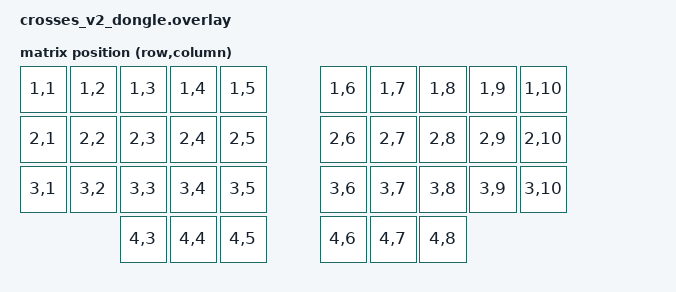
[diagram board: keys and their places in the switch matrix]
#include <dt-bindings/zmk/matrix_transform.h>
#include <input/processors.dtsi>
#include <input/processors/report_rate_limit.dtsi>
#include <dt-bindings/zmk/input_transform.h>
#include <zephyr/dt-bindings/input/input-event-codes.h>
#include "../../gggw/crosses_v2/layout_36.dtsi"

/ {
    chosen {
        zmk,kscan = &mock_kscan;
        zmk,matrix-transform = &thirty_six_transform;
        
        // Trackball config link
        gggw,trackball-config-uart = &tbcfg_acm;
    };

    mock_kscan: mock_kscan_0 {
        compatible = "zmk,kscan-mock";
        columns = <0>;
        rows = <0>;
        events = <0>;
    };

    thirty_six_transform: keymap_transform2 {
      compatible = "zmk,matrix-transform";
      columns = <12>;
      rows = <5>;
      map = <
        RC(1,1) RC(1,2) RC(1,3) RC(1,4) RC(1,5)           RC(1,6) RC(1,7) RC(1,8) RC(1,9) RC(1,10)
        RC(2,1) RC(2,2) RC(2,3) RC(2,4) RC(2,5)           RC(2,6) RC(2,7) RC(2,8) RC(2,9) RC(2,10)
        RC(3,1) RC(3,2) RC(3,3) RC(3,4) RC(3,5)           RC(3,6) RC(3,7) RC(3,8) RC(3,9) RC(3,10)
                        RC(4,3) RC(4,4) RC(4,5)           RC(4,6) RC(4,7) RC(4,8)
      >;
    };

    zip_periph_ball: zip_periph_ball {
      compatible = "zmk,input-processor-pipeline-switch";
      #input-processor-cells = <0>;
      persistent;
      default-index = <1>;
      cursor {
        label = "Cursor";
        input-processors = <&zip_report_rate_limit 2>;
      };
      scroll_up {
        label = "Scroll Up";
        input-processors = <&zip_xy_to_scroll_mapper>, <&zip_scroll_scaler 1 8>, <&zip_report_rate_limit 16>;
      };
      scroll_down {
        label = "Scroll Down";
        input-processors = <&zip_xy_transform (INPUT_TRANSFORM_Y_INVERT)>, <&zip_xy_to_scroll_mapper>, <&zip_scroll_scaler 1 8>, <&zip_report_rate_limit 16>;
      };
    };

    zip_central_ball: zip_central_ball {
      compatible = "zmk,input-processor-pipeline-switch";
      #input-processor-cells = <0>;
      persistent;
      default-index = <0>;
      cursor {
        label = "Cursor";
        input-processors = <&zip_xy_transform (INPUT_TRANSFORM_X_INVERT | INPUT_TRANSFORM_Y_INVERT)>, <&zip_report_rate_limit 4>;
      };
      scroll_up {
        label = "Scroll Up";
        input-processors = <&zip_xy_transform (INPUT_TRANSFORM_X_INVERT | INPUT_TRANSFORM_Y_INVERT)>, <&zip_xy_to_scroll_mapper>, <&zip_scroll_scaler 1 8>, <&zip_report_rate_limit 16>;
      };
      scroll_down {
        label = "Scroll Down";
        input-processors = <&zip_xy_transform (INPUT_TRANSFORM_X_INVERT)>, <&zip_xy_to_scroll_mapper>, <&zip_scroll_scaler 1 8>, <&zip_report_rate_limit 16>;
      };
    };

    behaviors {
      pipe_switch: pswitch {
        compatible = "zmk,behavior-pipeline-switch";
        #binding-cells = <2>;
        processor = <&zip_periph_ball>;
        display-name = "Ball Mode L";
      };
      pipe_switch_r: pswitchr {
        compatible = "zmk,behavior-pipeline-switch";
        #binding-cells = <2>;
        processor = <&zip_central_ball>;
        display-name = "Ball Mode R";
      };
      dpi_cycle_left: dpi_cy_l {
        compatible = "zmk,behavior-paw32xx-res-cycle";
        #binding-cells = <1>;
        values = <608 798 988 1216 1596>;
        display-name = "DPI Left";
        persistent;
      };
      dpi_cycle_right: dpi_cy_r {
        compatible = "zmk,behavior-paw32xx-res-cycle";
        #binding-cells = <1>;
        values = <608 798 988 1216 1596>;
        display-name = "DPI Right";
        persistent;
      };
      cpi_set_l: cpisetl {
        compatible = "zmk,behavior-paw32xx-res-set";
        #binding-cells = <2>;
        default-cpi = <700>;
        persistent;
        load_delay = <1000>;
      };
      cpi_set_r: cpisetr {
        compatible = "zmk,behavior-paw32xx-res-set";
        #binding-cells = <2>;
        default-cpi = <700>;
        persistent;
        load_delay = <1000>;
      };
    };

    trackball_config {
        compatible = "gggw,trackball-config";
        left-pipeline = <&zip_periph_ball>;
        right-pipeline = <&zip_central_ball>;
        left-mode-behavior = <&pipe_switch>;
        right-mode-behavior = <&pipe_switch_r>;
        left-cpi = <&cpi_set_l>;
        right-cpi = <&cpi_set_r>;
        right-peripheral-source = <1>;
    };
};

&zephyr_udc0 {
    tbcfg_acm: tbcfg_acm {
        compatible = "zephyr,cdc-acm-uart";
    };
};

// Two dummy sensors for the behaviors to point to so the web app can change DPI locally on central
// (Though in a dongle setup, it relays it to peripherals via EVENT_SOURCE locality).
// Actually, ZMK behaviors require the sensor_device phandle, so we must just point them to mock sensors on the dongle if they aren't relayed automatically?
// No, ZMK's `paw32xx-res-set` requires a real or mock sensor device to compile.
// I'll create a dummy spi node for them to satisfy phandles, or they can just sit there.
// Let's add dummy sensor devices:
&spi1 {
    status = "okay";
    dummy_sensor_l: dummy_sensor_l@0 {
        compatible = "pixart,paw3222";
        status = "okay";
        reg = <0>;
        spi-max-frequency = <2000000>;
        res-cpi = <700>;
        irq-gpios = <&gpio0 0 0>;
    };
    dummy_sensor_r: dummy_sensor_r@1 {
        compatible = "pixart,paw3222";
        status = "okay";
        reg = <1>;
        spi-max-frequency = <2000000>;
        res-cpi = <700>;
        irq-gpios = <&gpio0 0 0>;
    };
};

&dpi_cycle_left {
    sensor_device = <&dummy_sensor_l>;
};
&dpi_cycle_right {
    sensor_device = <&dummy_sensor_r>;
};
&cpi_set_l {
    sensor_device = <&dummy_sensor_l>;
};
&cpi_set_r {
    sensor_device = <&dummy_sensor_r>;
};

/ {
        // trackball inputs from peripherals
    split_inputs {
        #address-cells = <1>;
        #size-cells = <0>;

        trackball_split_0: trackball_split_0@0 {
            compatible = "zmk,input-split";
            reg = <0>;
        };

        trackball_split_1: trackball_split_1@1 {
            compatible = "zmk,input-split";
            reg = <1>;
        };
    };

    trackball_peripheral_listener: trackball_peripheral_listener {
        compatible = "zmk,input-listener";
        status = "okay";
        device = <&trackball_split_0>;
        input-processors = <&zip_periph_ball>;
    };

    trackball_central_listener: trackball_central_listener {
        compatible = "zmk,input-listener";
        status = "okay";
        device = <&trackball_split_1>;
        input-processors = <&zip_central_ball>;
    };
};

&pinctrl {
    i2c0_default: i2c0_default {
        group1 {
            psels = <NRF_PSEL(TWIM_SDA, 0,17)>,
                <NRF_PSEL(TWIM_SCL, 0, 20)>;
        };
    };

    i2c0_sleep: i2c0_sleep {
        group1 {
            psels = <NRF_PSEL(TWIM_SDA, 0, 17)>,
                <NRF_PSEL(TWIM_SCL, 0, 20)>;
            low-power-enable;
        };
    };
};

&i2c0 {
    status = "okay";
    compatible = "nordic,nrf-twi";
    pinctrl-0 = <&i2c0_default>;
    pinctrl-1 = <&i2c0_sleep>;
    pinctrl-names = "default", "sleep";
    oled: sh1106@3c {
        compatible = "sinowealth,sh1106";
        reg = <0x3c>;
        width = <128>;
        height = <64>;
        segment-offset = <2>;
        page-offset = <0>;
        display-offset = <0>;
        multiplex-ratio = <63>;
        segment-remap;
        com-invdir;
        inversion-on;
        prechargep = <0x22>;
    };
};

/ {
    chosen {
        zephyr,display = &oled;
    };
};

&gggw_crosses_36_layout {
    transform = <&thirty_six_transform>;
};
